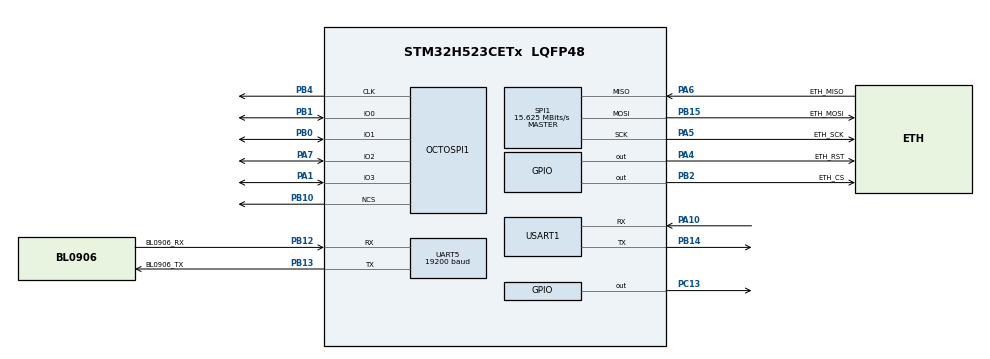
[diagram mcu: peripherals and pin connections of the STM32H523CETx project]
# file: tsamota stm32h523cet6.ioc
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BOOTPATH.BootPathName=LEGACY
BOOTPATH.UserSelectedBootPath=LEGACY
CORTEX_M33_NS.userName=CORTEX_M33
CRC.InputDataFormat=CRC_INPUTDATA_FORMAT_WORDS
Mcu.Family=STM32H5
Mcu.Name=STM32H523CETx
Mcu.Package=LQFP48
NVIC.PriorityGroup=NVIC_PRIORITYGROUP_4
OCTOSPI1.ClockPrescaler=1
OCTOSPI1.MemorySize=HAL_XSPI_SIZE_32MB
OCTOSPI1.MemoryType=HAL_XSPI_MEMTYPE_MACRONIX
PA1.Mode=OCTOSPI1_IO[3\:0]
PA1.Signal=OCTOSPI1_IO3
PA10.Mode=Asynchronous
PA10.Signal=USART1_RX
PA13(JTMS/SWDIO).Mode=Serial_Wire
PA13(JTMS/SWDIO).Signal=DEBUG_JTMS-SWDIO
PA14(JTCK/SWCLK).Mode=Serial_Wire
PA14(JTCK/SWCLK).Signal=DEBUG_JTCK-SWCLK
PA4.GPIO_Label=ETH_RST
PA4.Signal=GPIO_Output
PA5.GPIO_Label=ETH_SCK
PA5.Mode=Full_Duplex_Master
PA5.Signal=SPI1_SCK
PA6.GPIO_Label=ETH_MISO
PA6.Mode=Full_Duplex_Master
PA6.Signal=SPI1_MISO
PA7.Mode=OCTOSPI1_IO[3\:0]
PA7.Signal=OCTOSPI1_IO2
PB0.Mode=OCTOSPI1_IO[3\:0]
PB0.Signal=OCTOSPI1_IO1
PB1.Mode=OCTOSPI1_IO[3\:0]
PB1.Signal=OCTOSPI1_IO0
PB10.Mode=quad_mode
PB10.Signal=OCTOSPI1_NCS
PB12.GPIO_Label=BL0906_RX
PB12.Mode=Asynchronous
PB12.Signal=UART5_RX
PB13.GPIO_Label=BL0906_TX
PB13.Mode=Asynchronous
PB13.Signal=UART5_TX
PB14.Mode=Asynchronous
PB14.Signal=USART1_TX
PB15.GPIO_Label=ETH_MOSI
PB15.Mode=Full_Duplex_Master
PB15.Signal=SPI1_MOSI
PB2.GPIO_Label=ETH_CS
PB2.Signal=GPIO_Output
PB4(NJTRST).Mode=quad_mode
PB4(NJTRST).Signal=OCTOSPI1_CLK
PC13.Signal=GPIO_Output
PH0-OSC_IN(PH0).Mode=HSE-External-Oscillator
PH0-OSC_IN(PH0).Signal=RCC_OSC_IN
PH1-OSC_OUT(PH1).Mode=HSE-External-Oscillator
PH1-OSC_OUT(PH1).Signal=RCC_OSC_OUT
ProjectManager.HeapSize=0x200
ProjectManager.StackSize=0x400
ProjectManager.TargetToolchain=STM32CubeIDE
RCC.ADCFreq_Value=250000000
RCC.AHBFreq_Value=250000000
RCC.APB1Freq_Value=250000000
RCC.APB1TimFreq_Value=250000000
RCC.APB2Freq_Value=250000000
RCC.APB2TimFreq_Value=250000000
RCC.APB3Freq_Value=250000000
RCC.CSI_VALUE=4000000
RCC.CortexFreq_Value=250000000
RCC.EPOD_VALUE=8000000
RCC.HCLKFreq_Value=250000000
RCC.HSE_VALUE=8000000
RCC.HSI48_VALUE=48000000
RCC.HSI_VALUE=64000000
RCC.LSE_VALUE=32768
RCC.LSIRC_VALUE=32000
RCC.PLL2FRACN=0
RCC.PLL2M=2
RCC.PLL2N=125
RCC.PLL2P=4
RCC.PLL2Source=RCC_PLL2_SOURCE_HSE
RCC.PLL3FRACN=0
RCC.PLL3M=5
RCC.PLL3N=80
RCC.PLL3Source=RCC_PLL3_SOURCE_HSE
RCC.PLLFRACN=0
RCC.PLLM=2
RCC.PLLN=125
RCC.PLLSourceVirtual=RCC_PLL1_SOURCE_HSE
RCC.SPI1CLockSelection=RCC_SPI1CLKSOURCE_PLL2P
RCC.SPI3CLockSelection=RCC_SPI3CLKSOURCE_PLL3P
RCC.SYSCLKFreq_VALUE=250000000
RCC.SYSCLKSource=RCC_SYSCLKSOURCE_PLLCLK
RCC.USBFreq_Value=48000000
RCC.VCOOutputFreq_Value=500000000
SPI1.BaudRatePrescaler=SPI_BAUDRATEPRESCALER_8
SPI1.CalculateBaudRate=15.625 MBits/s
SPI1.DataSize=SPI_DATASIZE_8BIT
SPI1.Direction=SPI_DIRECTION_2LINES
SPI1.Mode=SPI_MODE_MASTER
SPI1.VirtualType=VM_MASTER
UART5.BaudRate=19200
USART1.VirtualMode-Asynchronous=VM_ASYNC
VP_BOOTPATH_VS_BOOTPATH.Mode=BP_Activate
VP_CORTEX_M33_NS_VS_Hclk.Mode=Hclk_Mode
VP_CRC_VS_CRC.Mode=CRC_Activate
VP_MEMORYMAP_VS_MEMORYMAP.Mode=CurAppReg
VP_PWR_VS_LPOM.Mode=PowerOptimisation
VP_PWR_VS_SECSignals.Mode=Security/Privilege
board=custom

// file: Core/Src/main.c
/* USER CODE BEGIN Header */
/**
  ******************************************************************************
  * @file           : main.c
  * @brief          : Default Main Application (STM32H523CET6)
  *                   - Eksekusi langsung XIP OctoSPI Flash @ 0x90001000
  *                   - W5500 via SPI1 + DHCP Socket 1 + Web Server / OTA Socket 0
  *                   - MQTT Client Socket 2
  *                   - Web Dashboard / Web Config / Secure Packet (SHA-256)
  *                   - CAN Bus: Dinonaktifkan sementara (commented out)
  ******************************************************************************
  */
/* USER CODE END Header */
#include "main.h"
#include "crc.h"
#include "spi.h"
#include "usart.h"
#include "gpio.h"

/* USER CODE BEGIN Includes */
#include "octospi_ll.h"
#include "dhcp.h"
#include "mqtt_config.h"
#include "mqtt_client.h"
#include "web_config.h"
#include "web_cmnd.h"
#include "html_flash.h"
#include "html_landing.h"
#include "secure_packet.h"
#include "can_bus.h"
#include "ota.h"
#include "bl0906.h"

#include <string.h>
#include <stdio.h>
#include <stdlib.h>
/* USER CODE END Includes */

/* USER CODE BEGIN PD */
#define DEBUG_MQTT
#define MAX_FIRMWARE_SIZE     (480UL * 1024UL)

/* Alamat partisi di OctoSPI Flash eksternal */
#define FLASH_STAGING_META    0x00100000U  /* 1 MB offset (Sektor 256) */
#define FLASH_STAGING_BIN     0x00101000U  /* 1 MB + 4 KB (Sektor 257) */

/* W5500 Ethernet Defines */
#define W5500_COMMON_REG_OP   0x00
#define W5500_S0_REG_OP       0x08
#define W5500_S0_TX_OP        0x10
#define W5500_S0_RX_OP        0x18

#define Sn_MR                 0x0000
#define Sn_CR                 0x0001
#define Sn_IR                 0x0002
#define Sn_SR                 0x0003
#define Sn_PORT               0x0004
#define Sn_TX_FSR             0x0020
#define Sn_TX_RD              0x0022
#define Sn_TX_WR              0x0024
#define Sn_RX_RSR             0x0026
#define Sn_RX_RD              0x0028

#define SOCK_CLOSED           0x00
#define SOCK_INIT             0x13
#define SOCK_LISTEN           0x14
#define SOCK_ESTABLISHED      0x17
#define SOCK_CLOSE_WAIT       0x1C
#define SOCK_FIN_WAIT         0x18

#define CMD_OPEN              0x01
#define CMD_LISTEN            0x02
#define CMD_DISCON            0x08
#define CMD_CLOSE             0x10
#define CMD_SEND              0x20
#define CMD_RECV              0x40

#define W5500_S0_BUF_MASK     0x1FFF
#define CHUNK_BUFFER_SIZE     (256)

uint8_t ram_buffer[CHUNK_BUFFER_SIZE];
/* USER CODE END PD */

/* USER CODE BEGIN PV */
volatile uint32_t g_ms_tick = 0;
volatile uint8_t  g_phy_reg = 0;
volatile uint8_t  g_w5500_version = 0;

/* Variabel dummy untuk CAN bus (dinonaktifkan sementara) */
CanBoardBData_t g_can_b_data = {0};
uint8_t         g_can_rx_flag = 0;
uint32_t        g_can_rx_count = 0;
uint32_t        g_can_tx_count = 0;
uint8_t         g_can_err_count = 0;

#ifdef DEBUG_MQTT
uint8_t g_dbg_s2_tx_size = 0;
uint8_t g_dbg_s2_sr     = 0;
uint8_t g_dbg_s2_fsr_hi = 0;
uint8_t g_dbg_s2_fsr_lo = 0;
#endif
/* USER CODE END PV */

void SystemClock_Config(void);
void PeriphCommonClock_Config(void);

/* USER CODE BEGIN 0 */

/* ==============================================================================
 * DRIVER SPI1 - W5500 ETHERNET BARE-METAL (STM32H5 SPI1)
 * ============================================================================== */
static inline uint8_t SPI1_Transfer(uint8_t data)
{
    uint32_t t = 200000;
    while (!LL_SPI_IsActiveFlag_TXP(SPI1))
    {
        if (--t == 0) return 0xFF;
    }
    LL_SPI_TransmitData8(SPI1, data);
    t = 200000;
    while (!LL_SPI_IsActiveFlag_RXP(SPI1))
    {
        if (--t == 0) return 0xFF;
    }
    return LL_SPI_ReceiveData8(SPI1);
}

void W5500_WriteReg(uint16_t addr, uint8_t block, uint8_t data)
{
    LL_GPIO_ResetOutputPin(ETH_CS_GPIO_Port, ETH_CS_Pin);
    SPI1_Transfer((uint8_t)(addr >> 8));
    SPI1_Transfer((uint8_t)addr);
    SPI1_Transfer(block | 0x04);
    SPI1_Transfer(data);
    LL_GPIO_SetOutputPin(ETH_CS_GPIO_Port, ETH_CS_Pin);
}

uint8_t W5500_ReadReg(uint16_t addr, uint8_t block)
{
    LL_GPIO_ResetOutputPin(ETH_CS_GPIO_Port, ETH_CS_Pin);
    SPI1_Transfer((uint8_t)(addr >> 8));
    SPI1_Transfer((uint8_t)addr);
    SPI1_Transfer(block | 0x00);
    uint8_t val = SPI1_Transfer(0xFF);
    LL_GPIO_SetOutputPin(ETH_CS_GPIO_Port, ETH_CS_Pin);
    return val;
}

void W5500_WriteBuf(uint16_t addr, uint8_t block, const uint8_t *buf, uint16_t len)
{
    LL_GPIO_ResetOutputPin(ETH_CS_GPIO_Port, ETH_CS_Pin);
    SPI1_Transfer((uint8_t)(addr >> 8));
    SPI1_Transfer((uint8_t)addr);
    SPI1_Transfer(block | 0x04);
    for (uint16_t i = 0; i < len; i++) SPI1_Transfer(buf[i]);
    LL_GPIO_SetOutputPin(ETH_CS_GPIO_Port, ETH_CS_Pin);
}

void W5500_ReadBuf(uint16_t addr, uint8_t block, uint8_t *buf, uint16_t len)
{
    LL_GPIO_ResetOutputPin(ETH_CS_GPIO_Port, ETH_CS_Pin);
    SPI1_Transfer((uint8_t)(addr >> 8));
    SPI1_Transfer((uint8_t)addr);
    SPI1_Transfer(block | 0x00);
    for (uint16_t i = 0; i < len; i++) buf[i] = SPI1_Transfer(0xFF);
    LL_GPIO_SetOutputPin(ETH_CS_GPIO_Port, ETH_CS_Pin);
}

void W5500_InitNetwork(void)
{
    LL_GPIO_ResetOutputPin(ETH_RST_GPIO_Port, ETH_RST_Pin);
    for (volatile int i = 0; i < 250000; i++);
    LL_GPIO_SetOutputPin(ETH_RST_GPIO_Port, ETH_RST_Pin);
    for (volatile int i = 0; i < 250000; i++);

    W5500_WriteReg(0x0000, W5500_COMMON_REG_OP, 0x80);
    for (volatile int i = 0; i < 100000; i++);

    static const uint8_t default_mac[6] = { 0x00, 0x08, 0xDC, 0x11, 0x22, 0x33 };
    for (int i = 0; i < 6; i++)
        W5500_WriteReg(0x0009 + i, W5500_COMMON_REG_OP, default_mac[i]);

    W5500_WriteReg(0x001E, W5500_S0_REG_OP, 8);
    W5500_WriteReg(0x001F, W5500_S0_REG_OP, 8);
    W5500_WriteReg(0x001E, 0x28, 2);
    W5500_WriteReg(0x001F, 0x28, 2);
    W5500_WriteReg(0x001E, 0x48, 2);
    W5500_WriteReg(0x001F, 0x48, 2);

    for (volatile int i = 0; i < 100000; i++);

    g_w5500_version = W5500_ReadReg(0x0039, W5500_COMMON_REG_OP);
    g_phy_reg = W5500_ReadReg(0x002E, W5500_COMMON_REG_OP);
}

static inline void W5500_WaitCR(uint8_t block, uint8_t ms)
{
    uint32_t t_start = g_ms_tick;
    while (W5500_ReadReg(Sn_CR, block))
    {
        if ((g_ms_tick - t_start) >= ms)
        {
            break;
        }
    }
}

void W5500_SocketOpenListen(uint16_t port)
{
    W5500_WriteReg(Sn_MR,   W5500_S0_REG_OP, 0x01);
    W5500_WriteReg(Sn_PORT,     W5500_S0_REG_OP, (uint8_t)(port >> 8));
    W5500_WriteReg(Sn_PORT + 1, W5500_S0_REG_OP, (uint8_t)port);
    W5500_WriteReg(Sn_CR,   W5500_S0_REG_OP, CMD_OPEN);
    W5500_WaitCR(W5500_S0_REG_OP, 5);

    if (W5500_ReadReg(Sn_SR, W5500_S0_REG_OP) != SOCK_INIT) return;

    W5500_WriteReg(Sn_CR, W5500_S0_REG_OP, CMD_LISTEN);
    W5500_WaitCR(W5500_S0_REG_OP, 5);
}

uint16_t W5500_GetTxFreeSize(void)
{
    uint16_t fsr1, fsr2;
    uint32_t t_start = g_ms_tick;
    do {
        fsr1 = ((uint16_t)W5500_ReadReg(Sn_TX_FSR,     W5500_S0_REG_OP) << 8) |
                          W5500_ReadReg(Sn_TX_FSR + 1, W5500_S0_REG_OP);
        fsr2 = ((uint16_t)W5500_ReadReg(Sn_TX_FSR,     W5500_S0_REG_OP) << 8) |
                          W5500_ReadReg(Sn_TX_FSR + 1, W5500_S0_REG_OP);
        if ((g_ms_tick - t_start) > 50) return 0;
    } while (fsr1 != fsr2);
    return fsr1;
}

void W5500_SendTCP(const uint8_t *data, uint16_t len)
{
    if (len == 0 || data == NULL) return;

    // Tunggu sampai buffer hardware W5500 memiliki ruang cukup
    uint32_t t_start = g_ms_tick;
    while (W5500_GetTxFreeSize() < len)
    {
        uint8_t sr = W5500_ReadReg(Sn_SR, W5500_S0_REG_OP);
        if (sr != SOCK_ESTABLISHED && sr != SOCK_CLOSE_WAIT) return;
        if (g_ms_tick - t_start > 1500) return;
    }

    uint16_t ptr = ((uint16_t)W5500_ReadReg(Sn_TX_WR,     W5500_S0_REG_OP) << 8) |
                               W5500_ReadReg(Sn_TX_WR + 1, W5500_S0_REG_OP);
    uint16_t offset = ptr & 0x1FFF; // 8KB buffer mask
    if ((offset + len) > 0x2000)
    {
        uint16_t part1 = 0x2000 - offset;
        W5500_WriteBuf(offset, W5500_S0_TX_OP, data, part1);
        W5500_WriteBuf(0x0000, W5500_S0_TX_OP, data + part1, len - part1);
    }
    else
    {
        W5500_WriteBuf(offset, W5500_S0_TX_OP, data, len);
    }
    ptr += len;
    W5500_WriteReg(Sn_TX_WR,     W5500_S0_REG_OP, (uint8_t)(ptr >> 8));
    W5500_WriteReg(Sn_TX_WR + 1, W5500_S0_REG_OP, (uint8_t)ptr);
    W5500_WriteReg(Sn_CR,        W5500_S0_REG_OP, CMD_SEND);
    W5500_WaitCR(W5500_S0_REG_OP, 10);
}

/* ==============================================================================
 * CATATAN: Modul Web Server & OTA dipindahkan ke Core/Inc/ota.h & Core/Src/ota.c
 *          (Fungsi: OTA_Init(), OTA_Process() / Process_Web_OTA())
 * ============================================================================== */

/* ==============================================================================
 * UART DHCP STATUS REPORTER
 * ============================================================================== */
static void UART_PrintDHCPStatus(void)
{
    char buf[64];
    int len = snprintf(buf, sizeof(buf), "%d.%d.%d.%d (Status: %d)\r\n",
                       (int)g_dhcp_ip[0], (int)g_dhcp_ip[1],
                       (int)g_dhcp_ip[2], (int)g_dhcp_ip[3],
                       (int)g_dhcp_state);
    if (len > 0)
    {
        for (int i = 0; i < len; i++)
        {
            while (!LL_USART_IsActiveFlag_TXE_TXFNF(USART1));
            LL_USART_TransmitData8(USART1, (uint8_t)buf[i]);
        }
    }
}
/* USER CODE END 0 */

int main(void)
{

  /* USER CODE BEGIN 1 */
    SCB->VTOR = 0x08002000UL;
    __enable_irq();
  /* USER CODE END 1 */

  /* MCU Configuration--------------------------------------------------------*/

  /* Reset of all peripherals, Initializes the Flash interface and the Systick. */
  HAL_Init();

  /* Configure the system clock */
  SystemClock_Config();

  /* Configure the peripherals common clocks */
  PeriphCommonClock_Config();

  /* USER CODE BEGIN SysInit */
    SysTick->CTRL |= SysTick_CTRL_TICKINT_Msk;
  /* USER CODE END SysInit */

  /* Initialize all configured peripherals */
  MX_GPIO_Init();
  MX_SPI1_Init();
  MX_CRC_Init();
  MX_USART1_UART_Init();
  MX_UART5_Init();
  /* USER CODE BEGIN 2 */
    /* Pastikan OctoSPI dalam mode Memory-Mapped (0x90000000) untuk membaca web dari ext flash */
    OCTOSPI1_LL_MemoryMapped();

    LL_SPI_SetTransferSize(SPI1, 0);
    LL_SPI_Enable(SPI1);
    LL_SPI_StartMasterTransfer(SPI1);

    /* W5500 Init */
    W5500_InitNetwork();

    /* DHCP Init */
    DHCP_Init();

    /* Web Config & Crypto Init */
    WebConfig_Init();
    SecurePacket_Init();

    /* CAN Bus: Dinonaktifkan sementara */
    // CAN_Bus_Init();

    /* BL0906 Energy Meter Init */
    BL0906_Init();

    /* MQTT Init */
    MQTT_Init();

#ifdef DEBUG_MQTT
    W5500_WriteReg(0x001E, 0x48, 2);
    W5500_WriteReg(0x001F, 0x48, 2);
    g_dbg_s2_tx_size = W5500_ReadReg(0x001E, 0x48);
#endif
  /* USER CODE END 2 */

  /* Infinite loop */
    while (1)
    {

    /* USER CODE BEGIN 3 */
        /* Bagian CAN Bus test request dinonaktifkan sementara */
        /*
        static uint32_t last_test = 0;
        if ((g_ms_tick - last_test) >= 1000) {
            last_test = g_ms_tick;
            CAN_Bus_SendCmd(RELAY_CMD_STATUS_REQ);
        }
        */

        DHCP_Process();

        /* Trigger 1: Cetak saat berhasil dapat IP DHCP (edge-triggered) */
        static uint8_t s_dhcp_bound_last = 0;
        uint8_t is_bound = DHCP_IsBound();
        if (is_bound && !s_dhcp_bound_last)
        {
            UART_PrintDHCPStatus();
        }
        s_dhcp_bound_last = is_bound;

        /* Trigger 2: Cetak saat ada karakter masuk di USART1 RX */
        if (LL_USART_IsActiveFlag_ORE(USART1))
        {
            LL_USART_ClearFlag_ORE(USART1);
        }
        if (LL_USART_IsActiveFlag_RXNE_RXFNE(USART1))
        {
            (void)LL_USART_ReceiveData8(USART1);
            UART_PrintDHCPStatus();
        }

        if (DHCP_IsBound())
        {
            OTA_Process();
            static MqttConfig_t s_mqtt_cfg;
            static uint8_t s_cfg_loaded = 0;
            if (!s_cfg_loaded || g_config_updated) {
                MqttConfig_Load(&s_mqtt_cfg);
                s_cfg_loaded     = 1;
                g_config_updated = 0;
                MQTT_Init();
            }
            MQTT_Process(&s_mqtt_cfg);
        }
        static uint32_t lTime;
        if(g_ms_tick-lTime>=100)
        {
        	LL_GPIO_TogglePin(LED_BUILTIN_GPIO_Port, LED_BUILTIN_Pin);
        	g_phy_reg = W5500_ReadReg(0x002E, W5500_COMMON_REG_OP);
        	lTime = g_ms_tick;
        }

        /* BL0906 Energy Meter non-blocking process */
        BL0906_Process();
        /* Bagian CAN Bus RX flag dinonaktifkan sementara */
        /*
        if (g_can_rx_flag) {
            g_can_rx_flag = 0;
        }
        */
    }
  /* USER CODE END 3 */
}

void SystemClock_Config(void)
{
  LL_FLASH_SetLatency(LL_FLASH_LATENCY_5);
  while(LL_FLASH_GetLatency()!= LL_FLASH_LATENCY_5)
  {
  }

  LL_PWR_SetRegulVoltageScaling(LL_PWR_REGU_VOLTAGE_SCALE0);
  while (LL_PWR_IsActiveFlag_VOS() == 0)
  {
  }
  LL_RCC_HSE_Enable();

   /* Wait till HSE is ready */
  while(LL_RCC_HSE_IsReady() != 1)
  {
  }

  LL_RCC_PLL1_SetSource(LL_RCC_PLL1SOURCE_HSE);
  LL_RCC_PLL1_SetVCOInputRange(LL_RCC_PLLINPUTRANGE_4_8);
  LL_RCC_PLL1_SetVCOOutputRange(LL_RCC_PLLVCORANGE_WIDE);
  LL_RCC_PLL1_SetM(2);
  LL_RCC_PLL1_SetN(125);
  LL_RCC_PLL1_SetP(2);
  LL_RCC_PLL1_SetQ(2);
  LL_RCC_PLL1_SetR(2);
  LL_RCC_PLL1P_Enable();
  LL_RCC_PLL1_Enable();

   /* Wait till PLL is ready */
  while(LL_RCC_PLL1_IsReady() != 1)
  {
  }

  LL_RCC_SetSysClkSource(LL_RCC_SYS_CLKSOURCE_PLL1);

   /* Wait till System clock is ready */
  while(LL_RCC_GetSysClkSource() != LL_RCC_SYS_CLKSOURCE_STATUS_PLL1)
  {
  }

  LL_RCC_SetAHBPrescaler(LL_RCC_SYSCLK_DIV_1);
  LL_RCC_SetAPB1Prescaler(LL_RCC_APB1_DIV_1);
  LL_RCC_SetAPB2Prescaler(LL_RCC_APB2_DIV_1);
  LL_RCC_SetAPB3Prescaler(LL_RCC_APB3_DIV_1);
  LL_SetSystemCoreClock(250000000);

   /* Update the time base */
  if (HAL_InitTick (TICK_INT_PRIORITY) != HAL_OK)
  {
    Error_Handler();
  }
}

void PeriphCommonClock_Config(void)
{
  LL_RCC_PLL2_SetSource(LL_RCC_PLL2SOURCE_HSE);
  LL_RCC_PLL2_SetVCOInputRange(LL_RCC_PLLINPUTRANGE_4_8);
  LL_RCC_PLL2_SetVCOOutputRange(LL_RCC_PLLVCORANGE_WIDE);
  LL_RCC_PLL2_SetM(2);
  LL_RCC_PLL2_SetN(125);
  LL_RCC_PLL2_SetP(4);
  LL_RCC_PLL2_SetQ(2);
  LL_RCC_PLL2_SetR(2);
  LL_RCC_PLL2P_Enable();
  LL_RCC_PLL2_Enable();

   /* Wait till PLL is ready */
  while(LL_RCC_PLL2_IsReady() != 1)
  {
  }

}

void Error_Handler(void)
{
  __disable_irq();
  while (1)
  {
  }
}
